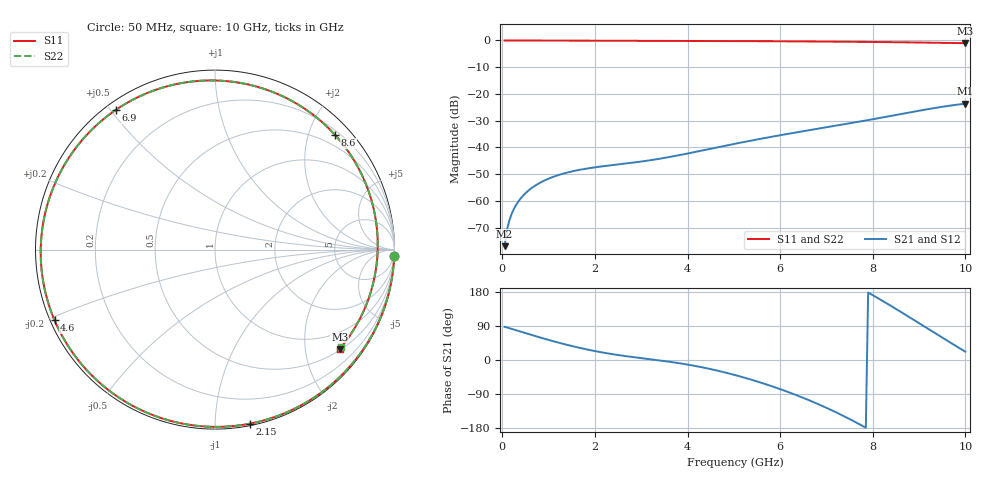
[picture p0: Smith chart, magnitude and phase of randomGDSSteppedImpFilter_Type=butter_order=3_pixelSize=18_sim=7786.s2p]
! freq	dB(S11)	phase(S11)	dB(S12)	phase(S12)
!  dB(S21)	phase(S21)	dB(S22)	phase(S22)
!S-par simulation data
#  GHz  S  DB  R 50
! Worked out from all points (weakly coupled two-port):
!   200 points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, 50 MHz to 10 GHz, reference 50 ohm
!   highest |S21| = -23.61 dB at 10 GHz (marker M1); lowest = -76.9 dB at 50 MHz (marker M2)
!   lowest |S11| = -1.0 dB at 10 GHz (marker M3), VSWR 16.91, Z = 26.4 - j138 ohm
!   |S11| at or under -10 dB: nowhere
!   |S22| runs from -1.0 to 0.0 dB; largest |S21 - S12| = 0
!   S11 on the Smith chart (normalised r, x): 50 MHz: 1, -59; 2.15 GHz: 0.01, -1.22; 4.6 GHz: 0.01, -0.21; 6.9 GHz: 0.03, +0.52; 8.6 GHz: 0.28, +2.47; 10 GHz: 0.53, -2.77
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0.05  -0.00 -2.0  -76.87 87.5  -76.87 87.5  -0.00 -2.0
0.1  -0.01 -3.9  -70.88 85.9  -70.88 85.9  -0.01 -3.9
0.2  -0.01 -7.7  -64.89 82.2  -64.89 82.2  -0.01 -7.7
0.35  -0.02 -13.4  -60.09 76.5  -60.09 76.5  -0.02 -13.4
0.5  -0.02 -19.1  -57.10 70.9  -57.10 70.9  -0.02 -19.1
1  -0.05 -37.9  -51.64 52.9  -51.64 52.9  -0.05 -37.8
1.75  -0.08 -64.9  -48.09 29.9  -48.09 29.9  -0.08 -64.9
2.15  -0.10 -78.7  -47.06 20.1  -47.06 20.1  -0.10 -78.7
2.75  -0.12 -98.6  -45.81 8.8  -45.81 8.8  -0.12 -98.6
3.4  -0.14 -119.3  -44.19 -1.2  -44.19 -1.2  -0.14 -119.3
4.6  -0.20 -156.2  -40.11 -26.7  -40.11 -26.7  -0.20 -156.2
5.05  -0.23 -170.2  -38.52 -40.5  -38.52 -40.5  -0.23 -170.1
5.9  -0.30 162.1  -35.73 -72.6  -35.73 -72.6  -0.30 162.2
6.7  -0.38 133.2  -33.32 -110.1  -33.32 -110.1  -0.38 133.4
6.9  -0.40 125.3  -32.74 -120.7  -32.74 -120.7  -0.40 125.5
7.7  -0.51 90.4  -30.37 -168.7  -30.37 -168.7  -0.51 90.7
8.35  -0.63 57.4  -28.34 146.0  -28.34 146.0  -0.62 57.9
8.6  -0.68 43.7  -27.53 127.4  -27.53 127.4  -0.67 44.2
8.95  -0.75 23.7  -26.41 100.8  -26.41 100.8  -0.75 24.3
9.3  -0.84 3.0  -25.35 74.0  -25.35 74.0  -0.84 3.7
9.65  -0.93 -17.9  -24.40 47.6  -24.40 47.6  -0.93 -17.1
10  -1.03 -38.6  -23.61 22.0  -23.61 22.0  -1.03 -37.7
